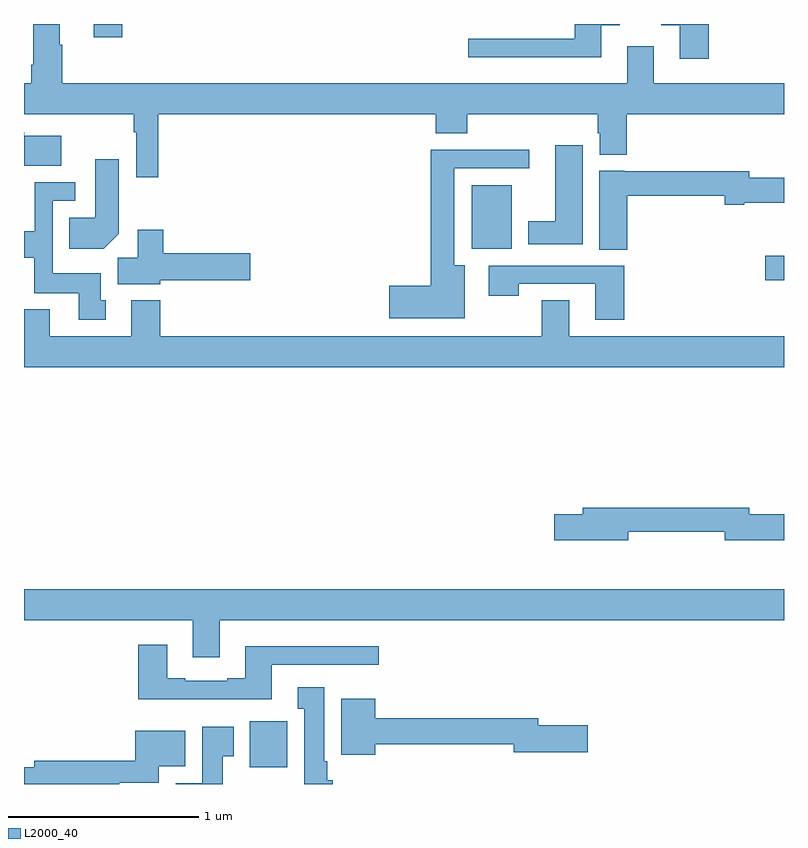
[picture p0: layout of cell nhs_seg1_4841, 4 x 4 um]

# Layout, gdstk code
import gdstk
lib = gdstk.Library(unit=1e-6, precision=1e-09)
def R(c, l, rs):  # rectangles x0, y0, x1, y1
    for r in rs: c.add(gdstk.rectangle(r[:2], r[2:], *l))
def P(c, l, *ps):  # polygons
    for p in ps: c.add(gdstk.Polygon(p, *l))
L2000_40 = (2000, 40)

nhs_seg1_4841 = lib.new_cell('nhs_seg1_4841')
R(nhs_seg1_4841, L2000_40, [(374.189,556.286,374.386,556.528), (376.902,558.85,377,558.979), (375.356,559.016,375.568,559.351), (373.367,560.13,373.516,560.199)])
P(nhs_seg1_4841, L2000_40, [(376.039,560.193),(376.135,560.193),(376.135,560.199),(375.899,560.199),(375.899,560.121),(375.339,560.121),(375.339,560.024),(376.039,560.024)],
  [(376.604,560.199),(376.355,560.199),(376.355,560.193),(376.451,560.193),(376.451,560.016),(376.604,560.016)],
  [(373.189,560.09),(373.189,560.197),(373.049,560.197),(373.049,559.984),(373.037,559.984),(373.037,559.888),(373,559.888),(373,559.724),(373.578,559.724),(373.578,559.628),(373.59,559.628),(373.59,559.392),(373.706,559.392),(373.706,559.724),(375.167,559.724),(375.167,559.625),(375.332,559.625),(375.332,559.724),(376.019,559.724),(376.019,559.623),(376.031,559.623),(376.031,559.511),(376.172,559.511),(376.172,559.724),(377,559.724),(377,559.888),(376.315,559.888),(376.315,560.083),(376.175,560.083),(376.175,559.888),(373.202,559.888),(373.202,560.09)],
  [(373.195,559.612),(373.002,559.612),(373.002,559.63),(373,559.63),(373,559.454),(373.195,559.454)],
  [(375.94,559.561),(375.797,559.561),(375.797,559.162),(375.653,559.162),(375.653,559.04),(375.94,559.04)],
  [(375.319,558.928),(375.265,558.928),(375.265,559.44),(375.658,559.44),(375.658,559.538),(375.14,559.538),(375.14,558.821),(374.922,558.821),(374.922,558.65),(375.319,558.65)],
  [(373.498,559.094),(373.498,559.486),(373.376,559.486),(373.376,559.18),(373.237,559.18),(373.237,559.016),(373.42,559.016)],
  [(376.175,559.294),(376.688,559.294),(376.688,559.247),(376.792,559.247),(376.792,559.259),(377,559.259),(377,559.389),(376.816,559.389),(376.816,559.423),(376.158,559.423),(376.158,559.426),(376.028,559.426),(376.028,559.012),(376.175,559.012)],
  [(373.429,558.744),(373.405,558.744),(373.405,558.886),(373.152,558.886),(373.152,559.269),(373.27,559.269),(373.27,559.365),(373.056,559.365),(373.056,559.108),(373,559.108),(373,558.968),(373.054,558.968),(373.054,558.782),(373.289,558.782),(373.289,558.642),(373.429,558.642)],
  [(373.716,558.85),(374.191,558.85),(374.191,558.992),(373.733,558.992),(373.733,559.117),(373.598,559.117),(373.598,558.968),(373.493,558.968),(373.493,558.83),(373.716,558.83)],
  [(376.16,558.927),(375.447,558.927),(375.447,558.768),(375.603,558.768),(375.603,558.831),(376.007,558.831),(376.007,558.642),(376.16,558.642)],
  [(377,558.556),(375.871,558.556),(375.871,558.746),(375.724,558.746),(375.724,558.556),(373.718,558.556),(373.718,558.745),(373.565,558.745),(373.565,558.556),(373.135,558.556),(373.135,558.697),(373,558.697),(373,558.392),(377,558.392)],
  [(376.18,557.526),(376.688,557.526),(376.688,557.483),(377,557.483),(377,557.618),(376.816,557.618),(376.816,557.654),(375.941,557.654),(375.941,557.618),(375.792,557.618),(375.792,557.483),(376.18,557.483)],
  [(374.029,557.06),(377,557.06),(377,557.224),(373,557.224),(373,557.06),(373.889,557.06),(373.889,556.866),(374.029,556.866)],
  [(374.305,556.827),(374.866,556.827),(374.866,556.924),(374.165,556.924),(374.165,556.756),(374.069,556.756),(374.069,556.743),(373.849,556.743),(373.849,556.756),(373.753,556.756),(373.753,556.933),(373.601,556.933),(373.601,556.646),(374.305,556.646)],
  [(374.626,556.218),(374.596,556.218),(374.596,556.318),(374.581,556.318),(374.581,556.708),(374.441,556.708),(374.441,556.595),(374.474,556.595),(374.474,556.199),(374.626,556.199)],
  [(374.848,556.408),(375.578,556.408),(375.578,556.366),(375.967,556.366),(375.967,556.508),(375.706,556.508),(375.706,556.544),(374.848,556.544),(374.848,556.648),(374.669,556.648),(374.669,556.352),(374.848,556.352)],
  [(374.047,556.345),(374.104,556.345),(374.104,556.501),(373.937,556.501),(373.937,556.204),(373.798,556.204),(373.798,556.199),(374.047,556.199)],
  [(373.502,556.205),(373.708,556.205),(373.708,556.292),(373.849,556.292),(373.849,556.48),(373.586,556.48),(373.586,556.322),(373.055,556.322),(373.055,556.286),(373,556.286),(373,556.199),(373.502,556.199)])

lib.write_gds('nhs_seg1_4841.gds')
